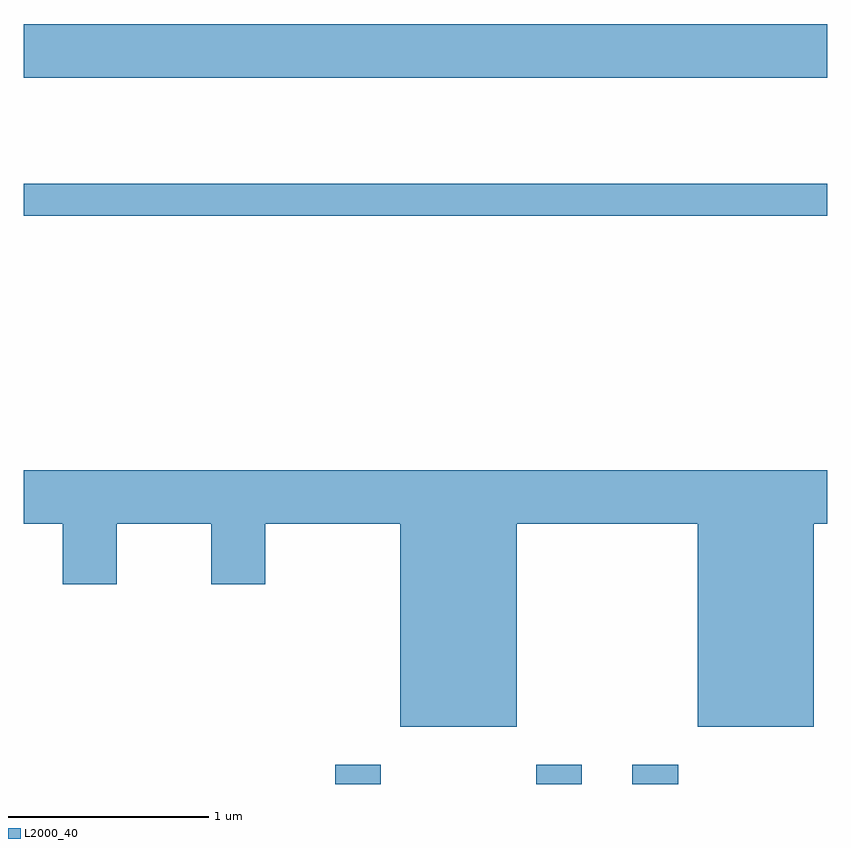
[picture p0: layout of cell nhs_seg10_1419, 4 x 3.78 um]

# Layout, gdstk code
import gdstk
lib = gdstk.Library(unit=1e-6, precision=1e-09)
def R(c, l, rs):  # rectangles x0, y0, x1, y1
    for r in rs: c.add(gdstk.rectangle(r[:2], r[2:], *l))
def P(c, l, *ps):  # polygons
    for p in ps: c.add(gdstk.Polygon(p, *l))
L2000_40 = (2000, 40)

nhs_seg10_1419 = lib.new_cell('nhs_seg10_1419')
R(nhs_seg10_1419, L2000_40, [(227.161,2212.522,227.389,2212.619), (228.161,2212.522,228.389,2212.619), (228.641,2212.522,228.869,2212.619), (225.611,2215.351,229.611,2215.509), (225.611,2216.036,229.611,2216.304)])
P(nhs_seg10_1419, L2000_40, [(228.064,2213.816),(228.966,2213.816),(228.966,2212.806),(229.544,2212.806),(229.544,2213.816),(229.611,2213.816),(229.611,2214.084),(225.611,2214.084),(225.611,2213.816),(225.806,2213.816),(225.806,2213.516),(226.074,2213.516),(226.074,2213.816),(226.546,2213.816),(226.546,2213.516),(226.814,2213.516),(226.814,2213.816),(227.486,2213.816),(227.486,2212.806),(228.064,2212.806)])

lib.write_gds('nhs_seg10_1419.gds')
